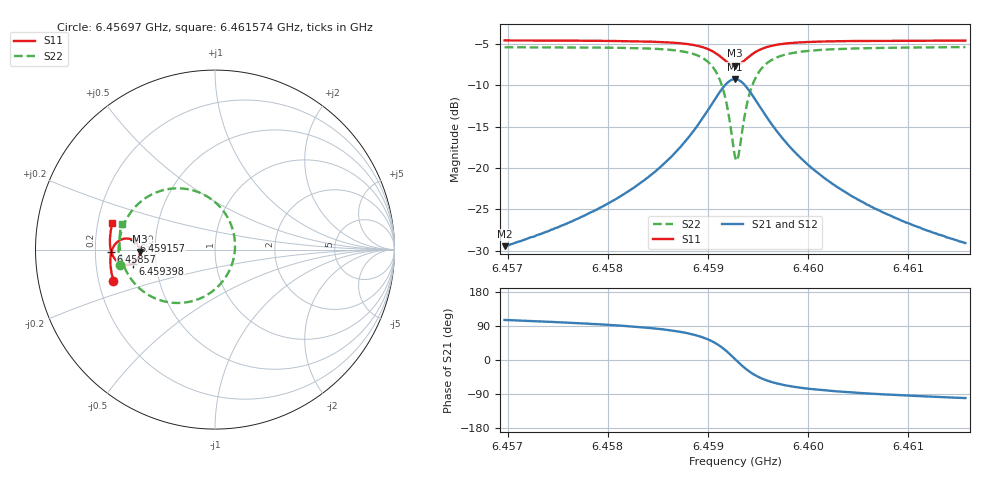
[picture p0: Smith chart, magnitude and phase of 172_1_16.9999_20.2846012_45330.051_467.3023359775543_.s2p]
#  HZ  S  RI  R  50.00
! Rohde & Schwarz Vector Network Analyzer
! Rohde-Schwarz,ZNB20-2Port,1311601062101988,3.16
! Created: UTC 3/20/2024, 10:59:47 PM
! freq[Hz]  re:S11  im:S11  re:S21  im:S21  re:S12  im:S12  re:S22  im:S22
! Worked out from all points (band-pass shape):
!   401 points, 6.45697 GHz to 6.461574 GHz, reference 50 ohm
!   highest |S21| = -9.23 dB at 6.459272 GHz (marker M1); lowest = -29.5 dB at 6.45697 GHz (marker M2)
!   |S21| within 3 dB of the highest: 6.459042 GHz to 6.459502 GHz (460 kHz wide, 0.00712 % of centre)
!   lowest |S11| = -7.6 dB at 6.459272 GHz (marker M3), VSWR 2.43, Z = 20.5 - j0.588 ohm
!   |S11| at or under -10 dB: nowhere
!   |S22| runs from -19.1 to -5.4 dB; largest |S21 - S12| = 0.013
!   S11 on the Smith chart (normalised r, x): 6.45697 GHz: 0.26, -0.14; 6.45857 GHz: 0.27, -0.01; 6.459157 GHz: 0.37, +0.05; 6.459398 GHz: 0.37, -0.07; 6.461574 GHz: 0.26, +0.12
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6.4569696e9  -0.566 -0.1741  -0.00911 0.0324  -0.00733 0.0324  -0.5315 -0.0873
6.4577408e9  -0.5803 -0.1067  -0.00584 0.0504  -0.00335 0.0497  -0.5373 0.00274
6.4581437e9  -0.5833 -0.0665  -0.000534 0.0683  0.00271 0.0671  -0.5303 0.0659
6.458512e9  -0.5796 -0.0227  0.0137 0.0988  0.0179 0.096  -0.5044 0.148
6.4585696e9  -0.5778 -0.0149  0.0181 0.1056  0.0221 0.1026  -0.4964 0.1645
6.4587768e9  -0.5648 0.0175  0.0454 0.1381  0.0497 0.1333  -0.4451 0.2373
6.4589264e9  -0.5422 0.0438  0.0906 0.1689  0.094 0.1622  -0.362 0.3022
6.4590646e9  -0.4984 0.0616  0.1777 0.1858  0.1788 0.1784  -0.2029 0.3414
6.4591567e9  -0.4537 0.0513  0.268 0.1546  0.2682 0.1489  -0.0364 0.2916
6.4592257e9  -0.4245 0.0193  0.3286 0.0828  0.3309 0.0776  0.0792 0.1625
6.4592718e9  -0.4175 -0.0118  0.3452 0.015  0.3488 0.00807  0.1115 0.0357
6.4592833e9  -0.4179 -0.02  0.3451 -0.00281  0.3488 -0.0104  0.1114 0.00215
6.4593063e9  -0.4215 -0.0356  0.3396 -0.0376  0.3432 -0.0466  0.1003 -0.0635
6.4593523e9  -0.4371 -0.0616  0.311 -0.0972  0.3131 -0.1092  0.0428 -0.1765
6.4593984e9  -0.4592 -0.078  0.2691 -0.1385  0.2682 -0.1517  -0.0419 -0.2513
6.4594905e9  -0.5026 -0.0849  0.1844 -0.1696  0.1783 -0.1811  -0.2102 -0.2974
6.4596401e9  -0.5465 -0.0645  0.0965 -0.1561  0.0882 -0.1624  -0.3773 -0.2486
6.4598013e9  -0.5681 -0.0368  0.0518 -0.1283  0.0442 -0.1311  -0.4576 -0.1769
6.460043e9  -0.581 -0.00137  0.0226 -0.0969  0.0169 -0.0976  -0.5058 -0.0948
6.4603998e9  -0.5857 0.0409  0.00623 -0.0695  0.00222 -0.0692  -0.5278 -0.0139
6.4608142e9  -0.5838 0.0825  -0.00127 -0.0518  -0.0041 -0.051  -0.5319 0.0521
6.4615739e9  -0.5719 0.1497  -0.00629 -0.0346  -0.00806 -0.0336  -0.5208 0.1419
